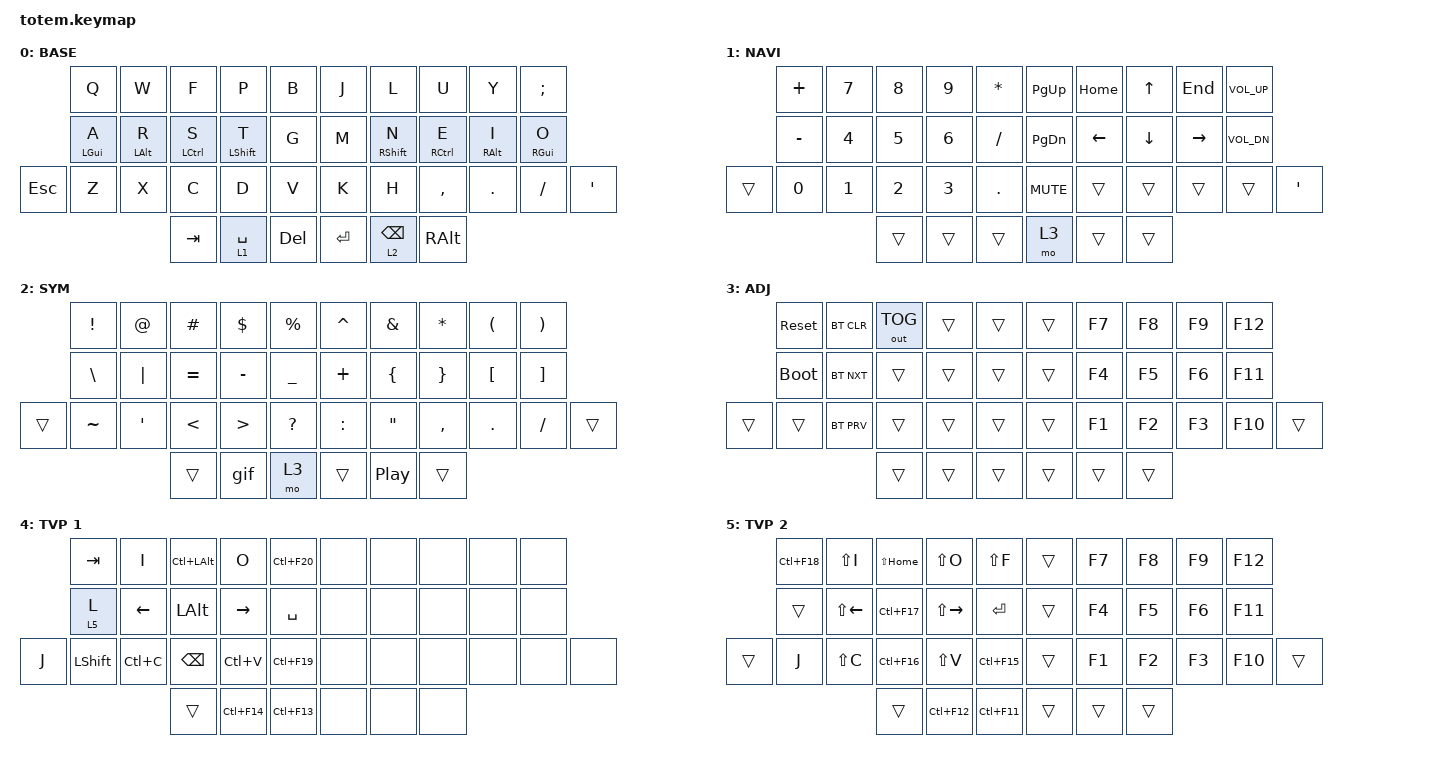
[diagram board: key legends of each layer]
//
//                                                        ▀▀▀▀▀     ▀▀▀▀▀          ▀▀█▀▀
//                                                        ▄▀▀▀▄  ▄  ▄▀▀▀▄  ▄  ▄▀▀▀▄  █  ▄▀▀▀▄
//                                                        █   █  █  █   █  █  █   █  █  █   █
//                                                         ▀▀▀   █   ▀▀▀   █   ▀▀▀   ▀   ▀▀▀
//                                                               █      ▄▄▄█▄▄▄    █   █  
//                                                               ▀      █  █  █     █▄█
//                                                             ▀▀▀▀▀    █  █  █      ▀
//                                                                      ▀  ▀  ▀
//
// ▄▄▄▄▄▄▄▄▄▄▄▄▄▄▄▄▄▄▄▄▄▄▄▄▄▄▄▄▄▄▄▄▄▄▄▄▄▄▄▄▄▄▄▄▄▄▄▄▄▄▄▄▄▄▄▄▄▄▄▄▄▄▄▄▄▄▄▄▄▄▄▄▄▄▄▄▄▄▄▄▄▄▄▄▄▄▄▄▄▄▄▄▄▄▄▄▄▄▄▄▄▄▄▄▄▄▄▄▄▄▄▄▄▄▄▄▄▄▄▄▄▄▄▄▄▄▄▄▄▄▄▄▄▄▄▄▄▄▄▄▄▄▄▄▄▄▄▄▄

#include <behaviors.dtsi>
#include <dt-bindings/zmk/bt.h>
#include <dt-bindings/zmk/keys.h>
#include <dt-bindings/zmk/outputs.h>

#define BASE 0
#define NAV  1
#define SYM  2
#define ADJ  3
#define TVP1 4
#define TVP2 5

&mt {
    quick-tap-ms = <200>;
    flavor = "tap-preferred";
    tapping-term-ms = <200>;
};

/ {
    combos {
        compatible = "zmk,combos";

        combo_esc {
            timeout-ms = <50>;
            key-positions = <0 1>;
            bindings = <&kp ESC>;
        };

        combo_tvp {
            timeout-ms = <100>;
            key-positions = <11 12 13>;
            bindings = <&tog 4>;
        };
    };

    macros {
        gif: gif {
            label = "giphy";
            compatible = "zmk,behavior-macro";
            #binding-cells = <0>;
            bindings =
                <&macro_press>,
                <&kp LSHFT>,
                <&macro_tap>,
                <&kp N2>,
                <&macro_release>,
                <&kp LSHFT>,
                <&macro_tap>,
                <&kp G &kp I &kp F>;
        };
    };

    keymap {
        compatible = "zmk,keymap";

        // ▄▄▄▄▄▄▄▄▄▄▄▄▄▄▄▄▄▄▄▄▄▄▄▄▄▄▄▄▄▄▄▄▄▄▄▄▄▄▄▄▄▄▄▄▄▄▄▄▄▄▄▄▄▄▄▄▄▄▄▄▄▄▄▄▄▄▄▄▄▄▄▄▄▄▄▄▄▄▄▄▄▄▄▄▄▄▄▄▄▄▄▄▄▄▄▄▄▄▄▄▄▄▄▄▄▄▄▄▄▄▄▄▄▄▄▄▄▄▄▄▄▄▄▄▄▄▄▄▄▄▄▄▄▄▄▄▄▄▄▄▄▄▄▄▄▄▄▄▄

        base_layer {
            // ┏━━━━━━━━━━━━━━━━━━━━━━━━━━━━━━━━━━━━━━━┓

            label = "BASE";

            // ┗━━━━━━━━━━━━━━━━━━━━━━━━━━━━━━━━━━━━━━━┛
            //             ┏━━━━━━━━━━━┳━━━━━━━━━━━┳━━━━━━━━━━━┳━━━━━━━━━━━┳━━━━━━━━━━━┓   ┏━━━━━━━━━━━┳━━━━━━━━━━━┳━━━━━━━━━━━┳━━━━━━━━━━━┳━━━━━━━━━━━┓
            //             ┃     Q     ┃     W     ┃     F     ┃     P     ┃     G     ┃   ┃     J     ┃     L     ┃     U     ┃     Y     ┃     ;     ┃
            //             ┣━━━━━━━━━━━╋━━━━━━━━━━━╋━━━━━━━━━━━╋━━━━━━━━━━━╋━━━━━━━━━━━┫   ┣━━━━━━━━━━━╋━━━━━━━━━━━╋━━━━━━━━━━━╋━━━━━━━━━━━╋━━━━━━━━━━━┫
            //             ┃     A     ┃     R     ┃     S     ┃     T     ┃     D     ┃   ┃     H     ┃     N     ┃     E     ┃     I     ┃     O     ┃
            // ┏━━━━━━━━━━━╋━━━━━━━━━━━╋━━━━━━━━━━━╋━━━━━━━━━━━╋━━━━━━━━━━━╋━━━━━━━━━━━┫   ┣━━━━━━━━━━━╋━━━━━━━━━━━╋━━━━━━━━━━━╋━━━━━━━━━━━╋━━━━━━━━━━━╋━━━━━━━━━━━┓
            // ┃     Q     ┃     Z     ┃     X     ┃     C     ┃     V     ┃     B     ┃   ┃     K     ┃     M     ┃     ,     ┃     .     ┃     /     ┃     \     ┃
            // ┗━━━━━━━━━━━┻━━━━━━━━━━━┻━━━━━━━━━━━╋━━━━━━━━━━━╋━━━━━━━━━━━╋━━━━━━━━━━━┫   ┣━━━━━━━━━━━╋━━━━━━━━━━━╋━━━━━━━━━━━╋━━━━━━━━━━━┻━━━━━━━━━━━┻━━━━━━━━━━━┛
            //                                     ┃    DEL    ┃    TAB    ┃    SPC    ┃   ┃   ENTER   ┃           ┃   BSPC    ┃
            //                                     ┗━━━━━━━━━━━┻━━━━━━━━━━━┻━━━━━━━━━━━┛   ┗━━━━━━━━━━━┻━━━━━━━━━━━┻━━━━━━━━━━━┛

            bindings = <
         &kp Q       &kp W       &kp F        &kp P        &kp B         &kp J      &kp L            &kp U          &kp Y       &kp SEMI
         &mt LGUI A  &mt LALT R  &mt LCTRL S  &mt LSHFT T  &kp G         &kp M      &mt RSHFT N      &mt RCTRL E    &mt RALT I  &mt RGUI O
&kp ESC  &kp Z       &kp X       &kp C        &kp D        &kp V         &kp K      &kp H            &kp COMMA      &kp DOT     &kp FSLH    &kp SINGLE_QUOTE
                                 &kp TAB      &lt 1 SPACE  &kp DELETE    &kp ENTER  &lt 2 BACKSPACE  &kp RIGHT_ALT
            >;
        };

        // ▄▄▄▄▄▄▄▄▄▄▄▄▄▄▄▄▄▄▄▄▄▄▄▄▄▄▄▄▄▄▄▄▄▄▄▄▄▄▄▄▄▄▄▄▄▄▄▄▄▄▄▄▄▄▄▄▄▄▄▄▄▄▄▄▄▄▄▄▄▄▄▄▄▄▄▄▄▄▄▄▄▄▄▄▄▄▄▄▄▄▄▄▄▄▄▄▄▄▄▄▄▄▄▄▄▄▄▄▄▄▄▄▄▄▄▄▄▄▄▄▄▄▄▄▄▄▄▄▄▄▄▄▄▄▄▄▄▄▄▄▄▄▄▄▄▄▄▄▄

        nav_layer {
            // ┏━━━━━━━━━━━━━━━━━━━━━━━━━━━━━━━━━━━━━━━┓

            label = "NAVI";

            // ┗━━━━━━━━━━━━━━━━━━━━━━━━━━━━━━━━━━━━━━━┛
            //             ┏━━━━━━━━━━━┳━━━━━━━━━━━┳━━━━━━━━━━━┳━━━━━━━━━━━┳━━━━━━━━━━━┓   ┏━━━━━━━━━━━┳━━━━━━━━━━━┳━━━━━━━━━━━┳━━━━━━━━━━━┳━━━━━━━━━━━┓
            //             ┃           ┃           ┃     UP    ┃           ┃     {     ┃   ┃     }     ┃     7     ┃     8     ┃     9     ┃     +     ┃
            //             ┣━━━━━━━━━━━╋━━━━━━━━━━━╋━━━━━━━━━━━╋━━━━━━━━━━━╋━━━━━━━━━━━┫   ┣━━━━━━━━━━━╋━━━━━━━━━━━╋━━━━━━━━━━━╋━━━━━━━━━━━╋━━━━━━━━━━━┫
            //             ┃   SHIFT   ┃   LEFT    ┃    DOWN   ┃   RIGHT   ┃     [     ┃   ┃     ]     ┃     4     ┃     5     ┃     6     ┃     -     ┃
            // ┏━━━━━━━━━━━╋━━━━━━━━━━━╋━━━━━━━━━━━╋━━━━━━━━━━━╋━━━━━━━━━━━╋━━━━━━━━━━━┫   ┣━━━━━━━━━━━╋━━━━━━━━━━━╋━━━━━━━━━━━╋━━━━━━━━━━━╋━━━━━━━━━━━╋━━━━━━━━━━━┓
            // ┃           ┃           ┃   P UP    ┃  C LOCK   ┃  P DOWN   ┃     (     ┃   ┃     )     ┃     1     ┃     2     ┃     3     ┃     *     ┃           ┃
            // ┗━━━━━━━━━━━┻━━━━━━━━━━━┻━━━━━━━━━━━╋━━━━━━━━━━━╋━━━━━━━━━━━╋━━━━━━━━━━━┫   ┣━━━━━━━━━━━╋━━━━━━━━━━━╋━━━━━━━━━━━╋━━━━━━━━━━━┻━━━━━━━━━━━┻━━━━━━━━━━━┛
            //                                     ┃           ┃    TAB    ┃    SPC    ┃   ┃    DEL    ┃     0     ┃           ┃
            //                                     ┗━━━━━━━━━━━┻━━━━━━━━━━━┻━━━━━━━━━━━┛   ┗━━━━━━━━━━━┻━━━━━━━━━━━┻━━━━━━━━━━━┛

            bindings = <
        &kp PLUS   &kp N7  &kp N8  &kp N9  &kp ASTERISK    &kp PAGE_UP    &kp HOME  &kp UP_ARROW    &kp END    &kp C_VOL_UP
        &kp MINUS  &kp N4  &kp N5  &kp N6  &kp FSLH        &kp PAGE_DOWN  &kp LEFT  &kp DOWN_ARROW  &kp RIGHT  &kp C_VOL_DN
&trans  &kp N0     &kp N1  &kp N2  &kp N3  &kp DOT         &kp C_MUTE     &trans    &trans          &trans     &trans        &kp APOS
                           &trans  &trans  &trans          &mo 3          &trans    &trans
            >;
        };

        // ▄▄▄▄▄▄▄▄▄▄▄▄▄▄▄▄▄▄▄▄▄▄▄▄▄▄▄▄▄▄▄▄▄▄▄▄▄▄▄▄▄▄▄▄▄▄▄▄▄▄▄▄▄▄▄▄▄▄▄▄▄▄▄▄▄▄▄▄▄▄▄▄▄▄▄▄▄▄▄▄▄▄▄▄▄▄▄▄▄▄▄▄▄▄▄▄▄▄▄▄▄▄▄▄▄▄▄▄▄▄▄▄▄▄▄▄▄▄▄▄▄▄▄▄▄▄▄▄▄▄▄▄▄▄▄▄▄▄▄▄▄▄▄▄▄▄▄▄▄

        sim_layer {
            // ┏━━━━━━━━━━━━━━━━━━━━━━━━━━━━━━━━━━━━━━━┓

            label = "SYM";

            // ┗━━━━━━━━━━━━━━━━━━━━━━━━━━━━━━━━━━━━━━━┛
            //             ┏━━━━━━━━━━━┳━━━━━━━━━━━┳━━━━━━━━━━━┳━━━━━━━━━━━┳━━━━━━━━━━━┓   ┏━━━━━━━━━━━┳━━━━━━━━━━━┳━━━━━━━━━━━┳━━━━━━━━━━━┳━━━━━━━━━━━┓
            //             ┃     !     ┃     @     ┃     #     ┃     $     ┃     %     ┃   ┃     ˆ     ┃     &     ┃     Ü     ┃     '     ┃     "     ┃
            //             ┣━━━━━━━━━━━╋━━━━━━━━━━━╋━━━━━━━━━━━╋━━━━━━━━━━━╋━━━━━━━━━━━┫   ┣━━━━━━━━━━━╋━━━━━━━━━━━╋━━━━━━━━━━━╋━━━━━━━━━━━╋━━━━━━━━━━━┫
            //             ┃     Ä     ┃           ┃    SZ     ┃           ┃           ┃   ┃   MUTE    ┃   YEN     ┃   EURO    ┃  POUND    ┃     Ö     ┃
            // ┏━━━━━━━━━━━╋━━━━━━━━━━━╋━━━━━━━━━━━╋━━━━━━━━━━━╋━━━━━━━━━━━╋━━━━━━━━━━━┫   ┣━━━━━━━━━━━╋━━━━━━━━━━━╋━━━━━━━━━━━╋━━━━━━━━━━━╋━━━━━━━━━━━╋━━━━━━━━━━━┓
            // ┃           ┃  EMAIL1   ┃  EMAIL2   ┃           ┃           ┃           ┃   ┃   VOL-    ┃   VOL+    ┃   LAST    ┃   NEXT    ┃     \     ┃           ┃
            // ┗━━━━━━━━━━━┻━━━━━━━━━━━┻━━━━━━━━━━━╋━━━━━━━━━━━╋━━━━━━━━━━━╋━━━━━━━━━━━┫   ┣━━━━━━━━━━━╋━━━━━━━━━━━╋━━━━━━━━━━━╋━━━━━━━━━━━┻━━━━━━━━━━━┻━━━━━━━━━━━┛
            //                                     ┃           ┃    GIF    ┃    ADJ    ┃   ┃           ┃           ┃           ┃
            //                                     ┗━━━━━━━━━━━┻━━━━━━━━━━━┻━━━━━━━━━━━┛   ┗━━━━━━━━━━━┻━━━━━━━━━━━┻━━━━━━━━━━━┛

            bindings = <
        &kp EXCL       &kp AT    &kp HASH       &kp DLLR          &kp PRCNT         &kp CARET  &kp AMPS           &kp ASTERISK     &kp LEFT_PARENTHESIS  &kp RIGHT_PARENTHESIS
        &kp BACKSLASH  &kp PIPE  &kp EQUAL      &kp MINUS         &kp UNDERSCORE    &kp PLUS   &kp LEFT_BRACE     &kp RIGHT_BRACE  &kp LEFT_BRACKET      &kp RIGHT_BRACKET
&trans  &kp TILDE      &kp SQT   &kp LESS_THAN  &kp GREATER_THAN  &kp QUESTION      &kp COLON  &kp DOUBLE_QUOTES  &kp COMMA        &kp PERIOD            &kp SLASH              &trans
                                 &trans         &gif              &mo 3             &trans     &kp C_PP           &trans
            >;
        };

        // ▄▄▄▄▄▄▄▄▄▄▄▄▄▄▄▄▄▄▄▄▄▄▄▄▄▄▄▄▄▄▄▄▄▄▄▄▄▄▄▄▄▄▄▄▄▄▄▄▄▄▄▄▄▄▄▄▄▄▄▄▄▄▄▄▄▄▄▄▄▄▄▄▄▄▄▄▄▄▄▄▄▄▄▄▄▄▄▄▄▄▄▄▄▄▄▄▄▄▄▄▄▄▄▄▄▄▄▄▄▄▄▄▄▄▄▄▄▄▄▄▄▄▄▄▄▄▄▄▄▄▄▄▄▄▄▄▄▄▄▄▄▄▄▄▄▄▄▄▄

        adjust_layer {
            // ┏━━━━━━━━━━━━━━━━━━━━━━━━━━━━━━━━━━━━━━━┓

            label = "ADJ";

            // ┗━━━━━━━━━━━━━━━━━━━━━━━━━━━━━━━━━━━━━━━┛
            //             ┏━━━━━━━━━━━┳━━━━━━━━━━━┳━━━━━━━━━━━┳━━━━━━━━━━━┳━━━━━━━━━━━┓   ┏━━━━━━━━━━━┳━━━━━━━━━━━┳━━━━━━━━━━━┳━━━━━━━━━━━┳━━━━━━━━━━━┓
            //             ┃   RESET   ┃ BT CLEAR  ┃  OUT TOG  ┃           ┃           ┃   ┃           ┃    F7     ┃    F8     ┃    F9     ┃    F12    ┃
            //             ┣━━━━━━━━━━━╋━━━━━━━━━━━╋━━━━━━━━━━━╋━━━━━━━━━━━╋━━━━━━━━━━━┫   ┣━━━━━━━━━━━╋━━━━━━━━━━━╋━━━━━━━━━━━╋━━━━━━━━━━━╋━━━━━━━━━━━┫
            //             ┃ BOOTLOAD  ┃ BT NEXT   ┃           ┃           ┃           ┃   ┃           ┃    F4     ┃    F5     ┃    F6     ┃    F11    ┃
            // ┏━━━━━━━━━━━╋━━━━━━━━━━━╋━━━━━━━━━━━╋━━━━━━━━━━━╋━━━━━━━━━━━╋━━━━━━━━━━━┫   ┣━━━━━━━━━━━╋━━━━━━━━━━━╋━━━━━━━━━━━╋━━━━━━━━━━━╋━━━━━━━━━━━╋━━━━━━━━━━━┓
            // ┃           ┃           ┃ BT PREV   ┃           ┃           ┃           ┃   ┃           ┃    F1     ┃    F2     ┃    F3     ┃    F10    ┃           ┃
            // ┗━━━━━━━━━━━┻━━━━━━━━━━━┻━━━━━━━━━━━╋━━━━━━━━━━━╋━━━━━━━━━━━╋━━━━━━━━━━━┫   ┣━━━━━━━━━━━╋━━━━━━━━━━━╋━━━━━━━━━━━╋━━━━━━━━━━━┻━━━━━━━━━━━┻━━━━━━━━━━━┛
            //                                     ┃           ┃           ┃           ┃   ┃           ┃           ┃           ┃
            //                                     ┗━━━━━━━━━━━┻━━━━━━━━━━━┻━━━━━━━━━━━┛   ┗━━━━━━━━━━━┻━━━━━━━━━━━┻━━━━━━━━━━━┛

            bindings = <
        &sys_reset   &bt BT_CLR  &out OUT_TOG  &trans  &trans    &trans  &kp F7  &kp F8  &kp F9  &kp F12
        &bootloader  &bt BT_NXT  &trans        &trans  &trans    &trans  &kp F4  &kp F5  &kp F6  &kp F11
&trans  &trans       &bt BT_PRV  &trans        &trans  &trans    &trans  &kp F1  &kp F2  &kp F3  &kp F10  &trans
                                 &trans        &trans  &trans    &trans  &trans  &trans
            >;
        };

        // ▄▄▄▄▄▄▄▄▄▄▄▄▄▄▄▄▄▄▄▄▄▄▄▄▄▄▄▄▄▄▄▄▄▄▄▄▄▄▄▄▄▄▄▄▄▄▄▄▄▄▄▄▄▄▄▄▄▄▄▄▄▄▄▄▄▄▄▄▄▄▄▄▄▄▄▄▄▄▄▄▄▄▄▄▄▄▄▄▄▄▄▄▄▄▄▄▄▄▄▄▄▄▄▄▄▄▄▄▄▄▄▄▄▄▄▄▄▄▄▄▄▄▄▄▄▄▄▄▄▄▄▄▄▄▄▄▄▄▄▄▄▄▄▄▄▄▄▄▄

        tvp1_layer {
            // ┏━━━━━━━━━━━━━━━━━━━━━━━━━━━━━━━━━━━━━━━┓

            label = "TVP 1";

            // ┗━━━━━━━━━━━━━━━━━━━━━━━━━━━━━━━━━━━━━━━┛
            //             ┏━━━━━━━━━━━┳━━━━━━━━━━━┳━━━━━━━━━━━┳━━━━━━━━━━━┳━━━━━━━━━━━┓   ┏━━━━━━━━━━━┳━━━━━━━━━━━┳━━━━━━━━━━━┳━━━━━━━━━━━┳━━━━━━━━━━━┓
            //             ┃ NEXT FILE ┃ MARK IN   ┃ ROTATE    ┃ MARK OUT  ┃ SHOW SNAP ┃   ┃           ┃           ┃           ┃           ┃           ┃
            //             ┣━━━━━━━━━━━╋━━━━━━━━━━━╋━━━━━━━━━━━╋━━━━━━━━━━━╋━━━━━━━━━━━┫   ┣━━━━━━━━━━━╋━━━━━━━━━━━╋━━━━━━━━━━━╋━━━━━━━━━━━╋━━━━━━━━━━━┫
            //             ┃ TVP II    ┃ LEFT      ┃ PAN       ┃ RIGHT     ┃ PLAY/FLIP ┃   ┃           ┃           ┃           ┃           ┃           ┃
            // ┏━━━━━━━━━━━╋━━━━━━━━━━━╋━━━━━━━━━━━╋━━━━━━━━━━━╋━━━━━━━━━━━╋━━━━━━━━━━━┫   ┣━━━━━━━━━━━╋━━━━━━━━━━━╋━━━━━━━━━━━╋━━━━━━━━━━━╋━━━━━━━━━━━╋━━━━━━━━━━━┓
            // ┃ FULLSCR   ┃ SHIFT     ┃ COPY      ┃ DELETE    ┃ PASTE     ┃ IMG MARK  ┃   ┃           ┃           ┃           ┃           ┃           ┃           ┃
            // ┗━━━━━━━━━━━┻━━━━━━━━━━━┻━━━━━━━━━━━╋━━━━━━━━━━━╋━━━━━━━━━━━╋━━━━━━━━━━━┫   ┣━━━━━━━━━━━╋━━━━━━━━━━━╋━━━━━━━━━━━╋━━━━━━━━━━━┻━━━━━━━━━━━┻━━━━━━━━━━━┛
            //                                     ┃           ┃ UNDO/SAVE ┃  SEL/MOV  ┃   ┃           ┃           ┃           ┃
            //                                     ┗━━━━━━━━━━━┻━━━━━━━━━━━┻━━━━━━━━━━━┛   ┗━━━━━━━━━━━┻━━━━━━━━━━━┻━━━━━━━━━━━┛

            bindings = <
       &kp TAB    &kp I      &kp LC(LALT)  &kp O        &kp LC(F20)    &none  &none  &none  &none  &none
       &lt 5 L    &kp LEFT   &kp LALT      &kp RIGHT    &kp SPACE      &none  &none  &none  &none  &none
&kp J  &kp LSHFT  &kp LC(C)  &kp BSPC      &kp LC(V)    &kp LC(F19)    &none  &none  &none  &none  &none  &none
                             &trans        &kp LC(F14)  &kp LC(F13)    &none  &none  &none
            >;
        };

        // ▄▄▄▄▄▄▄▄▄▄▄▄▄▄▄▄▄▄▄▄▄▄▄▄▄▄▄▄▄▄▄▄▄▄▄▄▄▄▄▄▄▄▄▄▄▄▄▄▄▄▄▄▄▄▄▄▄▄▄▄▄▄▄▄▄▄▄▄▄▄▄▄▄▄▄▄▄▄▄▄▄▄▄▄▄▄▄▄▄▄▄▄▄▄▄▄▄▄▄▄▄▄▄▄▄▄▄▄▄▄▄▄▄▄▄▄▄▄▄▄▄▄▄▄▄▄▄▄▄▄▄▄▄▄▄▄▄▄▄▄▄▄▄▄▄▄▄▄▄

        tvp2_layer {
            // ┏━━━━━━━━━━━━━━━━━━━━━━━━━━━━━━━━━━━━━━━┓

            label = "TVP 2";

            // ┗━━━━━━━━━━━━━━━━━━━━━━━━━━━━━━━━━━━━━━━┛
            //             ┏━━━━━━━━━━━┳━━━━━━━━━━━┳━━━━━━━━━━━┳━━━━━━━━━━━┳━━━━━━━━━━━┓   ┏━━━━━━━━━━━┳━━━━━━━━━━━┳━━━━━━━━━━━┳━━━━━━━━━━━┳━━━━━━━━━━━┓
            //             ┃ SOLO      ┃ TOGGLE IN ┃ RESET ROT ┃ TOGGLE OUT┃ TAKE SNAP ┃   ┃           ┃           ┃           ┃           ┃           ┃
            //             ┣━━━━━━━━━━━╋━━━━━━━━━━━╋━━━━━━━━━━━╋━━━━━━━━━━━╋━━━━━━━━━━━┫   ┣━━━━━━━━━━━╋━━━━━━━━━━━╋━━━━━━━━━━━╋━━━━━━━━━━━╋━━━━━━━━━━━┫
            //             ┃ ---       ┃ LAST KEY  ┃ NEW KEY   ┃ NEXT KEY  ┃ ENTER     ┃   ┃           ┃           ┃           ┃           ┃           ┃
            // ┏━━━━━━━━━━━╋━━━━━━━━━━━╋━━━━━━━━━━━╋━━━━━━━━━━━╋━━━━━━━━━━━╋━━━━━━━━━━━┫   ┣━━━━━━━━━━━╋━━━━━━━━━━━╋━━━━━━━━━━━╋━━━━━━━━━━━╋━━━━━━━━━━━╋━━━━━━━━━━━┓
            // ┃           ┃ FULLSCR   ┃ CPY2BRUSH ┃ DEL HEAD  ┃ PSTinPLACE┃ BOOK MARK ┃   ┃           ┃           ┃           ┃           ┃           ┃           ┃
            // ┗━━━━━━━━━━━┻━━━━━━━━━━━┻━━━━━━━━━━━╋━━━━━━━━━━━╋━━━━━━━━━━━╋━━━━━━━━━━━┫   ┣━━━━━━━━━━━╋━━━━━━━━━━━╋━━━━━━━━━━━╋━━━━━━━━━━━┻━━━━━━━━━━━┻━━━━━━━━━━━┛
            //                                     ┃           ┃ REDO/SAV1 ┃TRANS/WARP ┃   ┃           ┃           ┃           ┃
            //                                     ┗━━━━━━━━━━━┻━━━━━━━━━━━┻━━━━━━━━━━━┛   ┗━━━━━━━━━━━┻━━━━━━━━━━━┻━━━━━━━━━━━┛

            bindings = <
        &kp LC(F18)  &kp LS(I)     &kp LS(HOME)  &kp LS(O)      &kp LS(F)      &trans  &kp F7  &kp F8  &kp F9  &kp F12
        &trans       &kp LS(LEFT)  &kp LC(F17)   &kp LS(RIGHT)  &kp RET        &trans  &kp F4  &kp F5  &kp F6  &kp F11
&trans  &kp J        &kp LS(C)     &kp LC(F16)   &kp LS(V)      &kp LC(F15)    &trans  &kp F1  &kp F2  &kp F3  &kp F10  &trans
                                   &trans        &kp LC(F12)    &kp LC(F11)    &trans  &trans  &trans
            >;
        };
    };
};
